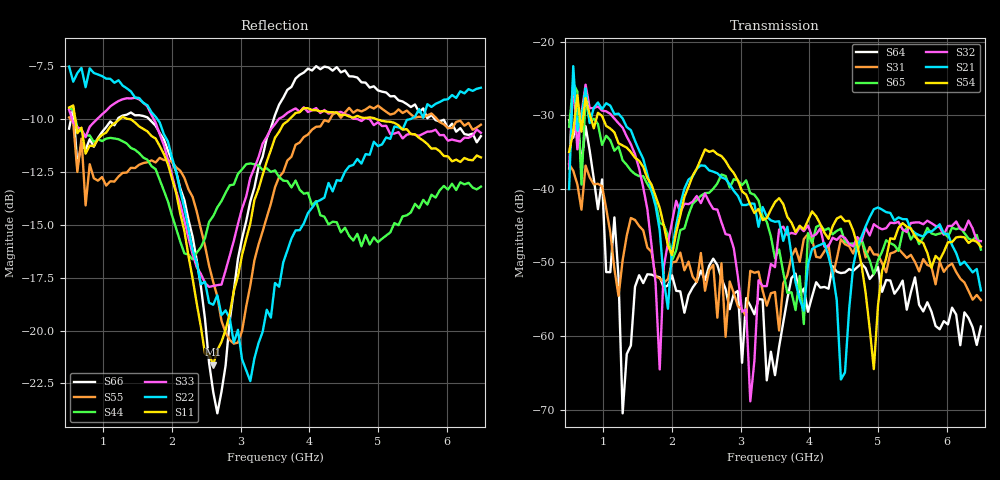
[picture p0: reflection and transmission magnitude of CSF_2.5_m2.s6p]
!Keysight Technologies,M9804A,MY58100912,A.14.10.03
!Date: Thursday, April 27, 2023 10:28:33
!Correction: S11(C  6-Port  )
!S12(C  6-Port  )
!S13(C  6-Port  )
!S14(C  6-Port  )
!S15(C  6-Port  )
!S16(C  6-Port  )
!S21(C  6-Port  )
!S22(C  6-Port  )
!S23(C  6-Port  )
!S24(C  6-Port  )
!S25(C  6-Port  )
!S26(C  6-Port  )
!S31(C  6-Port  )
!S32(C  6-Port  )
!S33(C  6-Port  )
!S34(C  6-Port  )
!S35(C  6-Port  )
!S36(C  6-Port  )
!S41(C  6-Port  )
!S42(C  6-Port  )
!S43(C  6-Port  )
!S44(C  6-Port  )
!S45(C  6-Port  )
!S46(C  6-Port  )
!S51(C  6-Port  )
!S52(C  6-Port  )
!S53(C  6-Port  )
!S54(C  6-Port  )
!S55(C  6-Port  )
!S56(C  6-Port  )
!S61(C  6-Port  )
!S62(C  6-Port  )
!S63(C  6-Port  )
!S64(C  6-Port  )
!S65(C  6-Port  )
!S66(C  6-Port  )
!S6P File: Measurement: :
# Hz S  RI  R 50
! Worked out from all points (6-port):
!   101 points, 500 MHz to 6.5 GHz, reference 50 ohm
!   strongest paths, dB at 500 MHz, 2 GHz, 3.5 GHz, 5 GHz, 6.5 GHz:
!     S54: -35.0, -49.0, -41.8, -55.9, -47.9
!     S21: -40.0, -48.2, -44.5, -42.5, -53.8
!     S32: -37.3, -44.5, -50.6, -45.2, -47.1
!     S65: -31.6, -49.7, -49.4, -49.7, -48.3
!     S31: -36.7, -50.0, -54.0, -48.9, -55.1
!     S64: -30.7, -51.7, -65.3, -50.6, -58.7
!   lowest |S11| = -21.6 dB at 2.6 GHz (marker M1), VSWR 1.18, Z = 42.6 + j2.02 ohm
!   |S11| at or under -10 dB: 589.1 MHz to 1.242 GHz (652.5 MHz wide, 71.3 % of centre); 1.364 GHz to 3.715 GHz (2.351 GHz wide, 92.6 % of centre); 4.971 GHz to end of sweep
